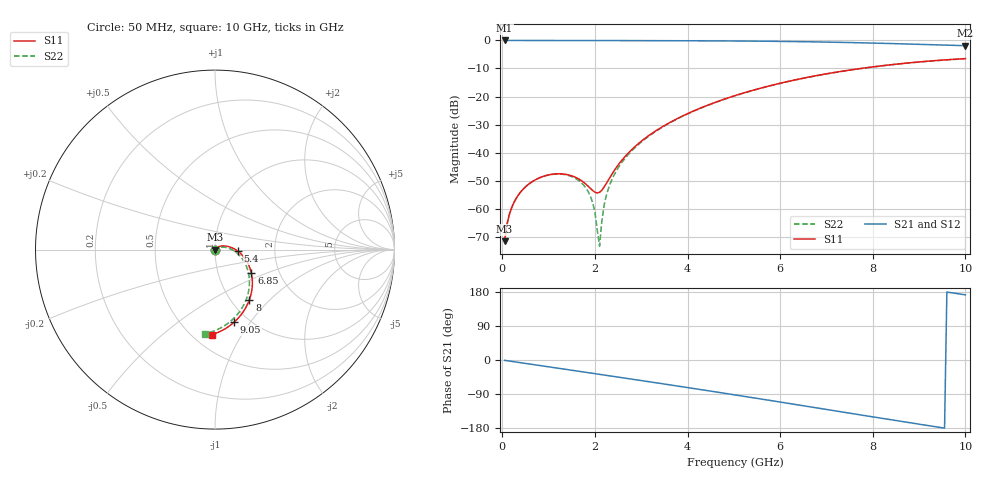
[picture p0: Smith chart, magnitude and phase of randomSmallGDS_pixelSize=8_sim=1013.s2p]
! freq	dB(S11)	phase(S11)	dB(S12)	phase(S12)
!  dB(S21)	phase(S21)	dB(S22)	phase(S22)
!S-par simulation data
#  GHz  S  DB  R 50
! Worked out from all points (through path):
!   200 points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, 50 MHz to 10 GHz, reference 50 ohm
!   highest |S21| = 0.00 dB at 50 MHz (marker M1); lowest = -1.9 dB at 10 GHz (marker M2)
!   group delay of S21, straight-line fit = 52.6 ps
!   lowest |S11| = -71.6 dB at 50 MHz (marker M3), VSWR 1.00, Z = 50 - j0.026 ohm
!   |S11| at or under -10 dB: start of sweep to 7.736 GHz
!   |S22| runs from -73.4 to -6.5 dB; largest |S21 - S12| = 0
!   S11 on the Smith chart (normalised r, x): 50 MHz: 1.00, -0.00; 5.4 GHz: 1.29, -0.02; 6.85 GHz: 1.44, -0.40; 8 GHz: 1.21, -0.76; 9.05 GHz: 0.86, -0.84; 10 GHz: 0.61, -0.75
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0.05  -71.64 -83.2  -0.00 -0.9  -0.00 -0.9  -71.62 -83.0
0.15  -62.21 -90.8  -0.00 -2.7  -0.00 -2.7  -62.19 -90.1
0.25  -57.86 -94.2  -0.00 -4.5  -0.00 -4.5  -57.84 -93.0
0.6  -50.89 -103.5  -0.01 -10.8  -0.01 -10.8  -50.88 -100.3
1.25  -47.57 -122.1  -0.03 -22.5  -0.03 -22.5  -47.66 -112.4
1.75  -50.51 -148.9  -0.04 -31.5  -0.04 -31.5  -51.45 -121.3
1.95  -53.50 -178.4  -0.04 -35.1  -0.04 -35.1  -57.74 -123.8
2  -54.12 169.2  -0.04 -36.0  -0.04 -36.0  -61.18 -123.5
2.1  -54.18 139.0  -0.04 -37.8  -0.04 -37.8  -73.38 -54.6
2.15  -53.42 124.0  -0.04 -38.7  -0.04 -38.7  -64.34 45.1
2.2  -52.26 111.0  -0.04 -39.6  -0.04 -39.6  -58.66 46.9
2.4  -46.84 79.7  -0.05 -43.3  -0.05 -43.3  -48.46 45.0
2.8  -38.86 56.1  -0.06 -50.5  -0.06 -50.5  -39.28 38.1
3.4  -31.35 38.3  -0.08 -61.6  -0.08 -61.6  -31.51 27.2
5.05  -19.54 2.8  -0.19 -92.6  -0.19 -92.6  -19.60 -3.4
5.4  -17.82 -4.2  -0.23 -99.3  -0.23 -99.3  -17.87 -10.0
6.7  -12.80 -30.1  -0.49 -124.6  -0.49 -124.6  -12.84 -35.0
6.85  -12.34 -33.0  -0.53 -127.6  -0.53 -127.6  -12.38 -37.9
8  -9.42 -55.4  -0.93 -150.1  -0.93 -150.1  -9.46 -60.0
8.35  -8.73 -62.0  -1.08 -156.9  -1.08 -156.9  -8.77 -66.6
9.05  -7.59 -75.1  -1.40 -170.3  -1.40 -170.3  -7.63 -79.6
10  -6.48 -92.2  -1.87 171.9  -1.87 171.9  -6.52 -96.9
